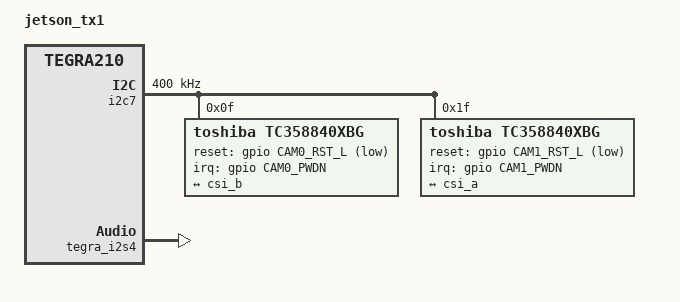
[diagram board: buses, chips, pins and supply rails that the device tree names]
/*
 * arch/arm64/boot/dts/tegra210-jetson-tx1-p2597-2180-a01-devkit.dts
 *
 * Copyright (c) 2014-2015, NVIDIA CORPORATION.  All rights reserved.
 *
 * This program is free software; you can redistribute it and/or modify
 * it under the terms of the GNU General Public License as published by
 * the Free Software Foundation; version 2 of the License.
 *
 * This program is distributed in the hope that it will be useful, but WITHOUT
 * ANY WARRANTY; without even the implied warranty of MERCHANTABILITY or
 * FITNESS FOR A PARTICULAR PURPOSE.  See the GNU General Public License for
 * more details.
 *
 */

// 25

#include "tegra210-jetson-cv-base-p2597-2180-a00.dts"

/ {
	model = "jetson_tx1";
	compatible = "nvidia,jetson-cv", "nvidia,tegra210";
	nvidia,dtsfilename = __FILE__;

	#address-cells = <2>;
	#size-cells = <2>;

	chosen {
		bootloader {
			nvidia,skip-display-init;
		};
	};

	host1x {
		dc@54200000 {
			status = "disabled";
		};

		dc@54240000 {
			nvidia,dc-or-node = "/host1x/sor1";
		};

		dsi {
			status = "disabled";
			panel-a-wuxga-8-0 {
				status = "disabled";
			};
			panel-s-wqxga-10-1 {
				status = "disabled";
			};
		};
	};

	i2c@7000c400 {
		lp8557-backlight-a-wuxga-8-0@2c {
			status = "disabled";
		};
	};


	pinmux@700008d4 {
		common {
			/*
			 * Pull down the INT pin of the TC358840 (HDMI IN 1, J16, up to
			 * 2160p30) while in reset in order to set i2c address 0x0F.
			 */
			cam1_pwdn_ps7 {
				nvidia,enable-input = <TEGRA_PIN_ENABLE>;
				nvidia,pull = <TEGRA_PIN_PULL_DOWN>;
				nvidia,tristate = <TEGRA_PIN_DISABLE>;
			};

			/*
			 * Pull up the INT pin of the TC358840 (HDMI IN 2, J17, up to
			 * 1080p60) while in reset in order to set i2c address 0x1F.
			 */
			cam2_pwdn_pt0 {
				nvidia,enable-input = <TEGRA_PIN_ENABLE>;
				nvidia,pull = <TEGRA_PIN_PULL_UP>;
				nvidia,tristate = <TEGRA_PIN_DISABLE>;
			};
		};
	};

	/* 
	 * Delete device-tree entries by Nvidia for camera hardware that is not
	 * available on the HDMI2CSI hardware and not supported by tegra_vi2
	 */
	/delete-node/ plugin-manager;
	i2c1: i2c@7000c000 {
		/delete-node/ ov23850_c@36;
		/delete-node/ lc898212@72;
	};
	aliases {
		/delete-property/ gpio288;
	};
	host1x {
		/delete-node/ vi;
		/delete-node/ i2c@546c0000;
		/delete-node/ i2c@70000c000;
	};

	host1x {
	/* /dev/i2c-6: Note the shift of 1! */
		i2c7: i2c@546c0000 {
			#address-cells = <1>;
			#size-cells = <0>;

			compatible = "nvidia,tegra210-vii2c";
			reg = <0x0 0x546C0000 0x0 0x00034000>;
			status = "okay";
			
			iommus = <&smmu 18>;
			interrupts = <0 17 0x04>;
			scl-gpio = <&gpio ((18 * 8) + 2) 0>;
			sda-gpio = <&gpio ((18 * 8) + 3) 0>;
			clock-frequency = <400000>;
			bus-pullup-supply = <&max77620_sd3>;
			avdd_dsi_csi-supply = <&max77620_sd3>;
			
			/* HDMI IN 1 (J16) up to 2160p30 */
			tc358840xbg@0f {
				compatible = "toshiba,tc358840xbg";
				reg = <0x0f>;
				status = "okay";

				/* GPIO */
				reset-gpios = <&gpio CAM0_RST_L GPIO_ACTIVE_LOW>;

				/* Interrupt */
				interrupt-parent = <&gpio>;
				/* J130 uses pull down for this pin */
				interrupts = <CAM0_PWDN IRQ_TYPE_LEVEL_HIGH>;

				refclk_hz = <48000000>; /* 40 - 50 MHz */

				ddc5v_delay = <1>;		/* 50 ms */

				/* HDCP */
				/* TODO: Not yet implemented */
				enable_hdcp = <0>;

				/* CSI Output */
				csi_port = <3>;			/* Enable TX0 (4 lanes) & TX1 (4 lanes) */

				lineinitcnt = <0x00000FA0>;
				lptxtimecnt = <0x00000004>;
				tclk_headercnt = <0x00180203>;
				tclk_trailcnt = <0x00040005>;
				ths_headercnt = <0x000D0004>;
				twakeup = <0x00003E80>;
				tclk_postcnt = <0x0000000A>;
				ths_trailcnt = <0x00080006>;
				hstxvregcnt = <0x00000020>;

				/* PLL */
				/* Bps per lane is (refclk_hz / pll_prd) * pll_fbd */
				pll_prd = <10>;
				pll_fbd = <125>;

				port {
					hdmi_in_j16: endpoint {
						remote-endpoint = <&csi_b>;
					};
				};
			};
			/* HDMI IN 2 (J17) up to 1080p60 */
			tc358840xbg@1f {
				compatible = "toshiba,tc358840xbg";
				reg = <0x1f>;
				status = "okay";

				/* GPIO */
				reset-gpios = <&gpio CAM1_RST_L GPIO_ACTIVE_LOW>;

				/* Interrupt */
				interrupt-parent = <&gpio>;
				/* J130 uses pull up for this pin*/
				interrupts = <CAM1_PWDN IRQ_TYPE_LEVEL_LOW>;

				refclk_hz = <48000000>; /* 40 - 50 MHz */

				ddc5v_delay = <1>;		/* 50 ms */

				/* HDCP */
				/* TODO: Not yet implemented */
				enable_hdcp = <0>;

				/* CSI Output */
				csi_port = <1>;			/* Enable TX0 only */

				lineinitcnt = <0x00000FA0>;
				lptxtimecnt = <0x00000004>;
				tclk_headercnt = <0x00180203>;
				tclk_trailcnt = <0x00040005>;
				ths_headercnt = <0x000D0004>;
				twakeup = <0x00003E80>;
				tclk_postcnt = <0x0000000A>;
				ths_trailcnt = <0x00080006>;
				hstxvregcnt = <0x00000020>;

				/* PLL */
				/* Bps per lane is (refclk_hz / pll_prd) * pll_fbd */
				pll_prd = <10>;
				pll_fbd = <125>;

				port {
					hdmi_in_j17: endpoint {
						remote-endpoint = <&csi_a>;
					};
				};
			};

			
		};
	};

	pinmux@700008d4 {
		common {
			/*
			 * Pull down the INT pin of the TC358840 (HDMI IN 1, J16, up to
			 * 2160p30) while in reset in order to set i2c address 0x0F.
			 */
			cam1_pwdn_ps7 {
				nvidia,enable-input = <TEGRA_PIN_ENABLE>;
				nvidia,pull = <TEGRA_PIN_PULL_DOWN>;
				nvidia,tristate = <TEGRA_PIN_DISABLE>;
			};

			/*
			 * Pull up the INT pin of the TC358840 (HDMI IN 2, J17, up to
			 * 10800p60) while in reset in order to set i2c address 0x1F.
			 */
			cam2_pwdn_pt0 {
				nvidia,enable-input = <TEGRA_PIN_ENABLE>;
				nvidia,pull = <TEGRA_PIN_PULL_UP>;
				nvidia,tristate = <TEGRA_PIN_DISABLE>;
			};
		};
	};

	host1x {
		vi {
			compatible = "nvidia,tegra210-vi2";
			reg = <0x0 0x54080000 0x0 0x40000>;
			interrupts = <GIC_SPI 69 IRQ_TYPE_LEVEL_HIGH>;
			status = "okay";
			//clocks = <&tegra_car TEGRA210_CLK_VI>,<&tegra_car TEGRA210_CLK_CSI>,<&tegra_car TEGRA210_CLK_PLL_C>;
			clocks = <&tegra_car TEGRA210_CLK_ID_VI>,
				 <&tegra_car TEGRA210_CLK_ID_CSI>,
				 <&tegra_car TEGRA210_CLK_ID_CSUS>,
				 <&tegra_car TEGRA210_CLK_ID_ISP>,
				 <&tegra_car TEGRA210_CLK_ID_CILAB>,
				 <&tegra_car TEGRA210_CLK_ID_CILCD>,
				 <&tegra_car TEGRA210_CLK_ID_CILE>,
				 <&tegra_car TEGRA210_CLK_ID_VI_SENSOR>,
				 <&tegra_car TEGRA210_CLK_ID_VI_SENSOR2>,
				 <&tegra_car TEGRA210_CLK_ID_PLL_D>;
			clock-names = "vi", "csi", "csus", "isp", "cilab",
						"cilcd", "cile", "vi_sensor", "vi_sensor2", "pll_d";

			power-domains = <&ve_pd>;
			iommus = <&smmu 18>;
			resets = <&tegra_car 20>;
			reset-names = "vi";

			avdd_dsi_csi-supply = <&max77620_ldo0>;

			#address-cells = <1>;
			#size-cells = <0>;
			/* HDMI IN 2 J17 (single lane) */
			vi_port_0: port@0 {
				reg = <0>;
				
				#address-cells = <1>;
				#size-cells = <0>;

				csi_a: endpoint {
					reg = <0>;
					remote-endpoint = <&hdmi_in_j17>;
					clock-lanes = <0>;
					data-lanes = <1 2 3 4>;
				};
			};
			/* HDMI IN 1 J16 (double lane) */
			port@1 {
				reg = <1>;
				
				#address-cells = <1>;
				#size-cells = <0>;

				csi_b: endpoint@0 {
					reg = <0>;
					remote-endpoint = <&hdmi_in_j16>;
					clock-lanes = <0>;
					data-lanes = <1 2 3 4>;
				};
				csi_c: endpoint@1 {
					reg = <1>;
					remote-endpoint = <&hdmi_in_j16>;
					clock-lanes = <0>;
					data-lanes = <1 2 3 4>;
				};
			};
		};
	};

	backlight {
		status = "disabled";
	};

	regulators {
		/* Enable power supply for HDMI extension board */

		/* VDD_SYS_EN */
		en_vdd_cam: regulator@5 {
			regulator-boot-on;
			regulator-always-on;
		};

		/* CAM_VDD_1V8_EN */
		en_vdd_cam_1v8: regulator@211 {
			regulator-boot-on;
			regulator-always-on;
		};

		/* CAM_VDD_1V2_EN */
		en_vdd_cam_1v2: regulator@209 {
			regulator-boot-on;
			regulator-always-on;
		};
	};
	
	tegra_axbar: ahub {
		status = "okay";

		tegra_i2s4: i2s@702d1300 {
			status = "okay";
		};      
	};

	sound_card: sound {
		compatible = "nvidia,tegra-audio-t210ref-mobile-rt565x";
		nvidia,model = "tegra-snd-t210ref-mobile-rt565x";

		nvidia,num-codec-link = <5>;

		nvidia,audio-routing =
		  "x Headphone Jack", "x HPO L Playback",
		  "x Headphone Jack", "x HPO R Playback",
		  "x MICBIAS1",   "x Mic Jack",
		  "x IN1P",   "x Mic Jack",
		  "x Mic Det Power",  "x Mic Jack",
		  "x Int Spk",    "x SPO Playback",
		  "x DMIC L1",            "x Int Mic",
		  "x DMIC L2",            "x Int Mic",
		  "x DMIC R1",            "x Int Mic",
		  "x DMIC R2",            "x Int Mic",
		  "x Headphone",    "x OUT",
		  "x IN",     "x Mic",
		  "y Headphone",    "y OUT",
		  "y IN",     "y Mic",
		  "l IN",     "l OUT",
		  "s Headphone",    "s OUT",
		  "s IN",     "s Mic";

		nvidia,xbar = <&tegra_axbar>;

		/* The codec-dai here is initialized to dummy and will be   */
		/* replaced with rt565x codec-dai on detecting super-module */
		nvidia,dai-link-1 {
		  link-name = "rt565x-playback";
		  cpu-dai = <&tegra_i2s1>;
		  codec-dai = <&spdif_dit4>;
		  cpu-dai-name = "I2S1";
		  codec-dai-name = "dit-hifi";
		  format = "i2s";
	//      bitclock-slave;
		  bitclock-master;
	//      frame-slave;
		  frame-master;
		  bitclock-noninversion;
		  frame-noninversion;
	//      bit-format = "s16_le";
		  bit-format = "s32_le";
	//      bclk_ratio = <0>;
		  bclk_ratio = <0>;
		  srate = <48000>;
		  num-channel = <2>;
		  ignore_suspend;
		  name-prefix = "x";
		};

		nvidia,dai-link-2 {
		  link-name = "spdif-dit-1";
		  cpu-dai = <&tegra_i2s2>;
		  codec-dai = <&spdif_dit1>;
		  cpu-dai-name = "I2S2";
		  codec-dai-name = "dit-hifi";
		  format = "dsp_a";
		  bitclock-slave;
		  frame-slave;
		  bitclock-inversion;
		  frame-inversion;
		  bit-format = "s16_le";
		  bclk_ratio = <4>;
		  srate = <8000>;
		  num-channel = <1>;
		  ignore_suspend;
		  name-prefix = "y";
		};

		nvidia,dai-link-3 {
		  link-name = "spdif-dit-2";
		  cpu-dai = <&tegra_dmic3>;
		  codec-dai = <&spdif_dit2>;
		  cpu-dai-name = "DMIC3";
		  codec-dai-name = "dit-hifi";
		  format = "i2s";
		  bit-format = "s16_le";
		  srate = <48000>;
		  num-channel = <2>;
		  ignore_suspend;
		  name-prefix = "z";
		};

		nvidia,dai-link-4 {
		  link-name = "spdif-dit-3";
		  cpu-dai = <&tegra_i2s3>;
		  codec-dai = <&spdif_dit3>;
		  cpu-dai-name = "I2S3";
		  codec-dai-name = "dit-hifi";
		  format = "i2s";
		  bitclock-slave;
		  frame-slave;
		  bitclock-noninversion;
		  frame-noninversion;
		  bit-format = "s16_le";
		  bclk_ratio = <0>;
		  srate = <48000>;
		  num-channel = <2>;
		  ignore_suspend;
		  name-prefix = "l";
		};

		nvidia,dai-link-5 {
		  link-name = "spdif-dit-0";
		  cpu-dai = <&tegra_i2s4>;
		  codec-dai = <&spdif_dit0>;
		  cpu-dai-name = "I2S4";
		  codec-dai-name = "dit-hifi";
		  format = "i2s";
	//      bitclock-slave;
		  bitclock-master;
	//      frame-slave;
		  frame-master;
		  bitclock-noninversion;
		  frame-noninversion;
	//      bit-format = "s16_le";
		  bit-format = "s32_le";
	//      bclk_ratio = <0>;
		  bclk_ratio = <0>;
		  srate = <48000>;
		  num-channel = <2>;
		  ignore_suspend;
		  name-prefix = "s";
		};
	};

	hda@70030000 {
		status = "okay";
	};
};
